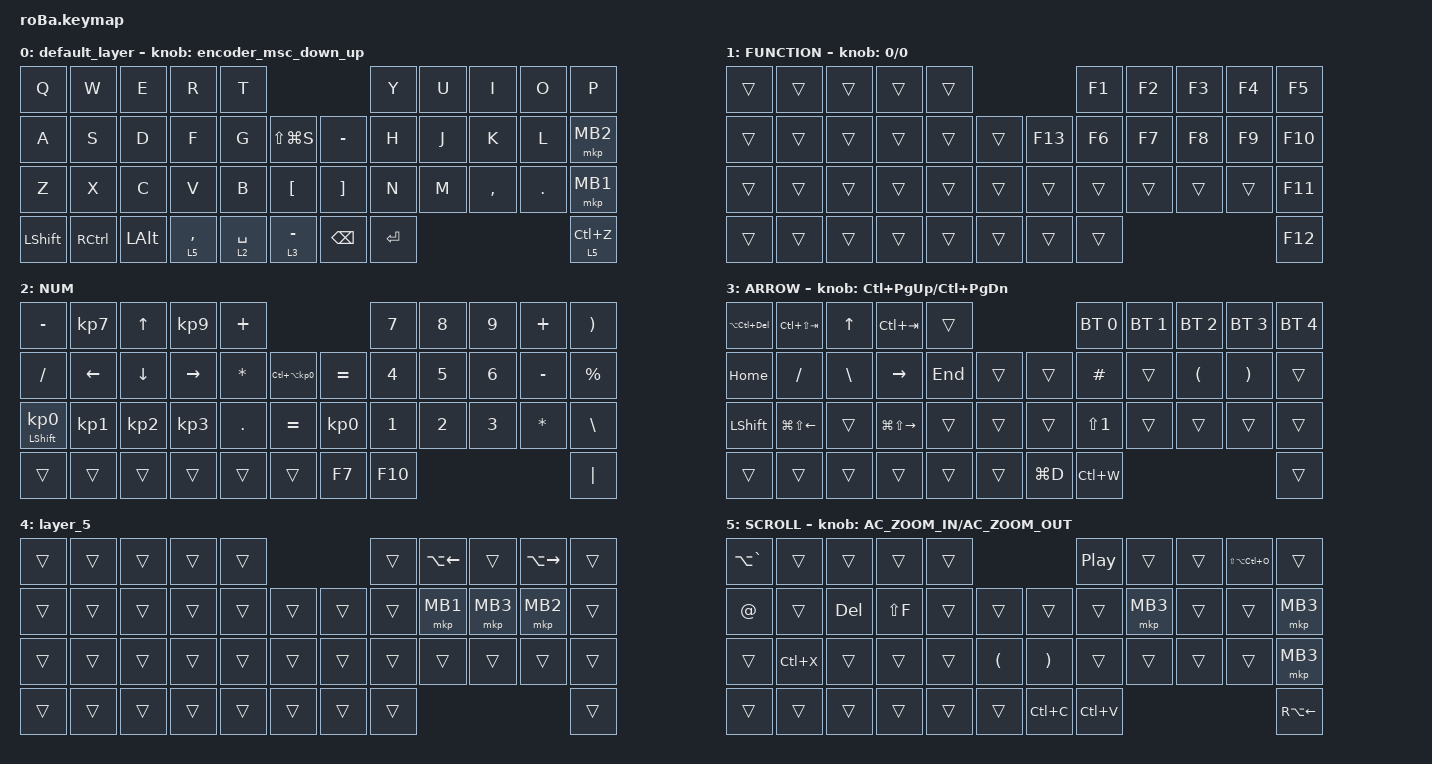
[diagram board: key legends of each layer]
#include <behaviors.dtsi>
#include <dt-bindings/zmk/bt.h>
#include <dt-bindings/zmk/keys.h>
#include <dt-bindings/zmk/pointing.h>

#define ZMK_POINTING_DEFAULT_SCRL_VAL 80

&mt {
    flavor = "balanced";
    quick-tap-ms = <0>;
};

&trackball {
    // automouse-layer = <4>;

    scroll-layers = <5>;

    // arrows {
    //     layers = <3>;
    //     bindings =
    //         <&kp RIGHT_ARROW>,
    //         <&kp LEFT_ARROW>,
    //         <&kp UP_ARROW>,
    //         <&kp DOWN_ARROW>;
    //     tick = <10>;
    //     wait-ms = <5>;
    //     tap-ms = <5>;
    // };
};

/ {
    combos {
        compatible = "zmk,combos";

        tab {
            bindings = <&kp TAB>;
            key-positions = <11 10>;
        };

        shift_tab {
            bindings = <&kp ESC>;
            key-positions = <0 1>;
        };

        kyouseisyuuryou {
            bindings = <&kp LC(LA(DELETE))>;
            key-positions = <0 1 39>;
        };

        double_quotation {
            bindings = <&kp DOUBLE_QUOTES>;
            key-positions = <15 16>;
        };

        eq {
            bindings = <&kp EQUAL>;
            key-positions = <27 28>;
        };

        test {
            bindings = <&none>;
            key-positions = <42>;
        };

        ipadhome {
            bindings = <&kp RG(H)>;
            key-positions = <40 41>;
        };
    };

    macros {
        to_layer_0: to_layer_0 {
            compatible = "zmk,behavior-macro-one-param";
            #binding-cells = <1>;
            bindings = <&to 0 &macro_param_1to1 &kp MACRO_PLACEHOLDER>;
            label = "TO_LAYER_0";
        };
    };

    behaviors {
        lt_to_layer_0: lt_to_layer_0 {
            compatible = "zmk,behavior-hold-tap";
            label = "LAYER_TAP_TO_0";
            bindings = <&mo>, <&to_layer_0>;

            #binding-cells = <2>;
            tapping-term-ms = <200>;
        };

        encoder_msc_down_up: encoder_msc_down_up {
            compatible = "zmk,behavior-sensor-rotate";
            label = "ENCODER_MSC_DOWN_UP";
            #sensor-binding-cells = <0>;
            bindings = <&msc SCRL_UP>, <&msc SCRL_DOWN>;

            tap-ms = <20>;
        };
    };

    keymap {
        compatible = "zmk,keymap";

        default_layer {
            bindings = <
&kp Q           &kp W              &kp E         &kp R        &kp T                                                 &kp Y      &kp U  &kp I      &kp O    &kp P
&kp A           &kp S              &kp D         &kp F        &kp G        &kp LS(LG(S))         &kp MINUS          &kp H      &kp J  &kp K      &kp L    &mkp MB2
&kp Z           &kp X              &kp C         &kp V        &kp B        &kp LEFT_BRACKET      &kp RIGHT_BRACKET  &kp N      &kp M  &kp COMMA  &kp DOT  &mkp MB1
&kp LEFT_SHIFT  &kp RIGHT_CONTROL  &kp LEFT_ALT  &lt 5 COMMA  &lt 2 SPACE  &lt 3 MINUS           &kp BACKSPACE      &kp ENTER                             &lt 5 LC(Z)
            >;

            sensor-bindings = <&encoder_msc_down_up>;
        };

        FUNCTION {
            bindings = <
&trans  &trans  &trans  &trans  &trans                       &kp F1  &kp F2  &kp F3  &kp F4  &kp F5
&trans  &trans  &trans  &trans  &trans  &trans      &kp F13  &kp F6  &kp F7  &kp F8  &kp F9  &kp F10
&trans  &trans  &trans  &trans  &trans  &trans      &trans   &trans  &trans  &trans  &trans  &kp F11
&trans  &trans  &trans  &trans  &trans  &trans      &trans   &trans                          &kp F12
            >;

            sensor-bindings = <&inc_dec_kp 0 0>;
        };

        NUM {
            bindings = <
&kp MINUS                   &kp KP_NUMBER_7  &kp UP_ARROW     &kp KP_NUMBER_9  &kp PLUS                                                    &kp N7   &kp N8  &kp N9  &kp PLUS      &kp RIGHT_PARENTHESIS
&kp SLASH                   &kp LEFT_ARROW   &kp DOWN_ARROW   &kp RIGHT_ARROW  &kp ASTERISK  &kp LC(LA(KP_NUMBER_0))      &kp EQUAL        &kp N4   &kp N5  &kp N6  &kp MINUS     &kp PERCENT
&mt LEFT_SHIFT KP_NUMBER_0  &kp KP_NUMBER_1  &kp KP_NUMBER_2  &kp KP_NUMBER_3  &kp PERIOD    &kp EQUAL                    &kp KP_NUMBER_0  &kp N1   &kp N2  &kp N3  &kp ASTERISK  &kp BACKSLASH
&trans                      &trans           &trans           &trans           &trans        &trans                       &kp F7           &kp F10                                &kp PIPE
            >;
        };

        ARROW {
            bindings = <
&kp LA(LC(DELETE))  &kp LC(LS(TAB))         &kp UP_ARROW   &kp LC(TAB)              &trans                          &bt BT_SEL 0      &bt BT_SEL 1  &bt BT_SEL 2          &bt BT_SEL 3           &bt BT_SEL 4
&kp HOME            &kp SLASH               &kp BACKSLASH  &kp RIGHT_ARROW          &kp END  &trans      &trans     &kp HASH          &trans        &kp LEFT_PARENTHESIS  &kp RIGHT_PARENTHESIS  &trans
&kp LEFT_SHIFT      &kp LG(LS(LEFT_ARROW))  &trans         &kp LG(LS(RIGHT_ARROW))  &trans   &trans      &trans     &kp LS(NUMBER_1)  &trans        &trans                &trans                 &trans
&trans              &trans                  &trans         &trans                   &trans   &trans      &kp LG(D)  &kp LC(W)                                                                    &trans
            >;

            sensor-bindings = <&inc_dec_kp LC(PAGE_UP) LC(PAGE_DOWN)>;
        };

        layer_5 {
            bindings = <
&trans  &trans  &trans  &trans  &trans                      &trans  &kp LA(LEFT_ARROW)  &trans    &kp LA(RIGHT_ARROW)  &trans
&trans  &trans  &trans  &trans  &trans  &trans      &trans  &trans  &mkp MB1            &mkp MB3  &mkp MB2             &trans
&trans  &trans  &trans  &trans  &trans  &trans      &trans  &trans  &trans              &trans    &trans               &trans
&trans  &trans  &trans  &trans  &trans  &trans      &trans  &trans                                                     &trans
            >;
        };

        SCROLL {
            bindings = <
&kp LA(GRAVE)  &trans     &trans      &trans     &trans                                                   &kp C_PLAY_PAUSE  &trans    &trans  &kp LS(LA(LC(O)))  &trans
&kp AT         &trans     &kp DELETE  &kp LS(F)  &trans  &trans                    &trans                 &trans            &mkp MB3  &trans  &trans             &mkp MB3
&trans         &kp LC(X)  &trans      &trans     &trans  &kp LEFT_PARENTHESIS      &kp RIGHT_PARENTHESIS  &trans            &trans    &trans  &trans             &mkp MB3
&trans         &trans     &trans      &trans     &trans  &trans                    &kp LC(C)              &kp LC(V)                                              &kp RA(LEFT)
            >;

            sensor-bindings = <&inc_dec_kp C_AC_ZOOM_IN C_AC_ZOOM_OUT>;
        };
    };
};
